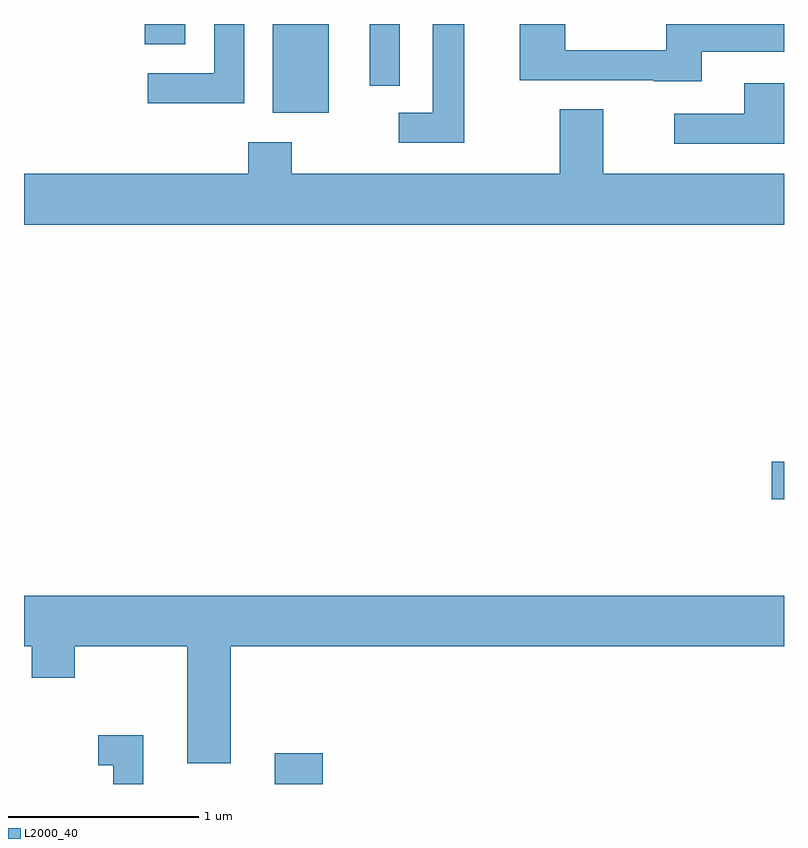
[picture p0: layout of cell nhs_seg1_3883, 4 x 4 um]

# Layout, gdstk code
import gdstk
lib = gdstk.Library(unit=1e-6, precision=1e-09)
def R(c, l, rs):  # rectangles x0, y0, x1, y1
    for r in rs: c.add(gdstk.rectangle(r[:2], r[2:], *l))
def P(c, l, *ps):  # polygons
    for p in ps: c.add(gdstk.Polygon(p, *l))
L2000_40 = (2000, 40)

nhs_seg1_3883 = lib.new_cell('nhs_seg1_3883')
R(nhs_seg1_3883, L2000_40, [(302.931,927.712,303.184,927.874), (305.546,929.211,305.611,929.409), (302.921,931.246,303.214,931.712), (303.431,931.388,303.589,931.712), (302.246,931.606,302.459,931.712)])
P(nhs_seg1_3883, L2000_40, [(305.179,931.566),(305.611,931.566),(305.611,931.712),(304.991,931.712),(304.991,931.574),(304.459,931.574),(304.459,931.712),(304.221,931.712),(304.221,931.416),(304.925,931.416),(304.925,931.411),(305.179,931.411)],
  [(302.769,931.712),(302.611,931.712),(302.611,931.454),(302.263,931.454),(302.263,931.296),(302.769,931.296)],
  [(303.929,931.712),(303.761,931.712),(303.761,931.244),(303.583,931.244),(303.583,931.086),(303.929,931.086)],
  [(305.611,931.399),(305.401,931.399),(305.401,931.239),(305.033,931.239),(305.033,931.081),(305.611,931.081)],
  [(305.611,930.924),(304.659,930.924),(304.659,931.264),(304.431,931.264),(304.431,930.924),(303.019,930.924),(303.019,931.089),(302.791,931.089),(302.791,930.924),(301.611,930.924),(301.611,930.656),(305.611,930.656)],
  [(302.699,928.436),(305.611,928.436),(305.611,928.704),(301.611,928.704),(301.611,928.436),(301.651,928.436),(301.651,928.271),(301.879,928.271),(301.879,928.436),(302.471,928.436),(302.471,927.821),(302.699,927.821)],
  [(302.239,927.969),(302.003,927.969),(302.003,927.811),(302.081,927.811),(302.081,927.712),(302.239,927.712)])

lib.write_gds('nhs_seg1_3883.gds')
